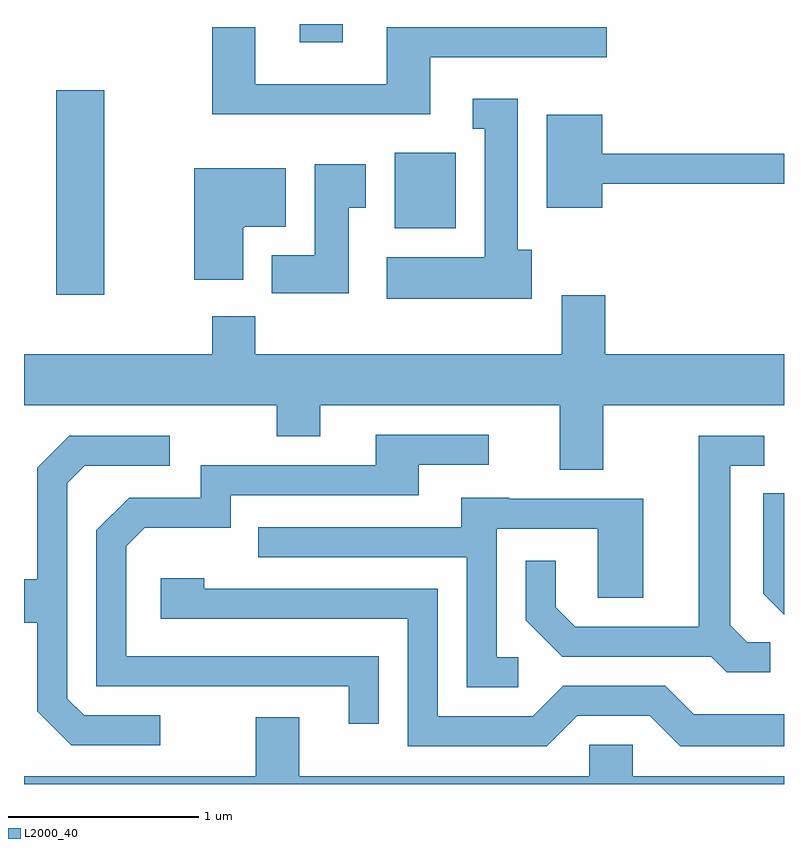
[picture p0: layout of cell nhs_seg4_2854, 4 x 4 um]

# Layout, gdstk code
import gdstk
lib = gdstk.Library(unit=1e-6, precision=1e-09)
def R(c, l, rs):  # rectangles x0, y0, x1, y1
    for r in rs: c.add(gdstk.rectangle(r[:2], r[2:], *l))
def P(c, l, *ps):  # polygons
    for p in ps: c.add(gdstk.Polygon(p, *l))
L2000_40 = (2000, 40)

nhs_seg4_2854 = lib.new_cell('nhs_seg4_2854')
R(nhs_seg4_2854, L2000_40, [(267.781,1388.556,268.034,1389.634), (269.561,1388.906,269.884,1389.304), (269.061,1389.886,269.289,1389.982)])
P(nhs_seg4_2854, L2000_40, [(269.749,1389.806),(270.678,1389.806),(270.678,1389.964),(269.521,1389.964),(269.521,1389.664),(268.829,1389.664),(268.829,1389.964),(268.601,1389.964),(268.601,1389.506),(269.749,1389.506)],
  [(270.284,1388.794),(270.209,1388.794),(270.209,1389.589),(269.973,1389.589),(269.973,1389.431),(270.036,1389.431),(270.036,1388.754),(269.521,1388.754),(269.521,1388.536),(270.284,1388.536)],
  [(270.654,1389.141),(271.611,1389.141),(271.611,1389.299),(270.654,1389.299),(270.654,1389.504),(270.361,1389.504),(270.361,1389.016),(270.654,1389.016)],
  [(269.319,1389.016),(269.409,1389.016),(269.409,1389.244),(269.141,1389.244),(269.141,1388.764),(268.916,1388.764),(268.916,1388.566),(269.319,1388.566)],
  [(268.764,1388.91),(268.77,1388.91),(268.77,1388.916),(268.989,1388.916),(268.989,1389.224),(268.506,1389.224),(268.506,1388.636),(268.764,1388.636)],
  [(270.659,1387.976),(271.611,1387.976),(271.611,1388.244),(270.669,1388.244),(270.669,1388.554),(270.441,1388.554),(270.441,1388.244),(268.829,1388.244),(268.829,1388.444),(268.601,1388.444),(268.601,1388.244),(267.611,1388.244),(267.611,1387.976),(268.941,1387.976),(268.941,1387.811),(269.169,1387.811),(269.169,1387.976),(270.431,1387.976),(270.431,1387.636),(270.659,1387.636)],
  [(269.479,1386.654),(268.149,1386.654),(268.149,1387.234),(268.247,1387.331),(268.699,1387.331),(268.699,1387.501),(269.689,1387.501),(269.689,1387.661),(270.058,1387.661),(270.058,1387.819),(269.461,1387.819),(269.461,1387.659),(268.541,1387.659),(268.541,1387.489),(268.164,1387.489),(267.991,1387.317),(267.991,1386.496),(269.321,1386.496),(269.321,1386.298),(269.479,1386.298)],
  [(268.328,1386.344),(267.927,1386.344),(267.839,1386.432),(267.839,1387.564),(267.932,1387.656),(268.378,1387.656),(268.378,1387.814),(267.849,1387.814),(267.681,1387.647),(267.681,1387.059),(267.611,1387.059),(267.611,1386.831),(267.681,1386.831),(267.681,1386.364),(267.859,1386.186),(268.328,1386.186)],
  [(271.538,1386.729),(271.417,1386.729),(271.329,1386.817),(271.329,1387.656),(271.508,1387.656),(271.508,1387.814),(271.161,1387.814),(271.161,1386.809),(270.512,1386.809),(270.409,1386.912),(270.409,1387.158),(270.251,1387.158),(270.251,1386.844),(270.444,1386.651),(271.229,1386.651),(271.309,1386.571),(271.538,1386.571)],
  [(271.611,1387.513),(271.501,1387.513),(271.501,1386.984),(271.611,1386.874)],
  [(270.213,1386.649),(270.099,1386.649),(270.099,1387.326),(270.631,1387.326),(270.631,1386.961),(270.869,1386.961),(270.869,1387.484),(270.165,1387.484),(270.165,1387.489),(269.911,1387.489),(269.911,1387.334),(268.843,1387.334),(268.843,1387.176),(269.941,1387.176),(269.941,1386.491),(270.213,1386.491)],
  [(270.522,1386.341),(270.904,1386.341),(271.064,1386.181),(271.611,1386.181),(271.611,1386.349),(271.137,1386.349),(270.987,1386.499),(270.449,1386.499),(270.289,1386.339),(269.789,1386.339),(269.789,1387.009),(268.559,1387.009),(268.559,1387.064),(268.331,1387.064),(268.331,1386.851),(269.631,1386.851),(269.631,1386.181),(270.362,1386.181)],
  [(271.611,1386.024),(270.814,1386.024),(270.814,1386.189),(270.586,1386.189),(270.586,1386.024),(269.059,1386.024),(269.059,1386.334),(268.831,1386.334),(268.831,1386.024),(267.611,1386.024),(267.611,1385.982),(271.611,1385.982)])

lib.write_gds('nhs_seg4_2854.gds')
